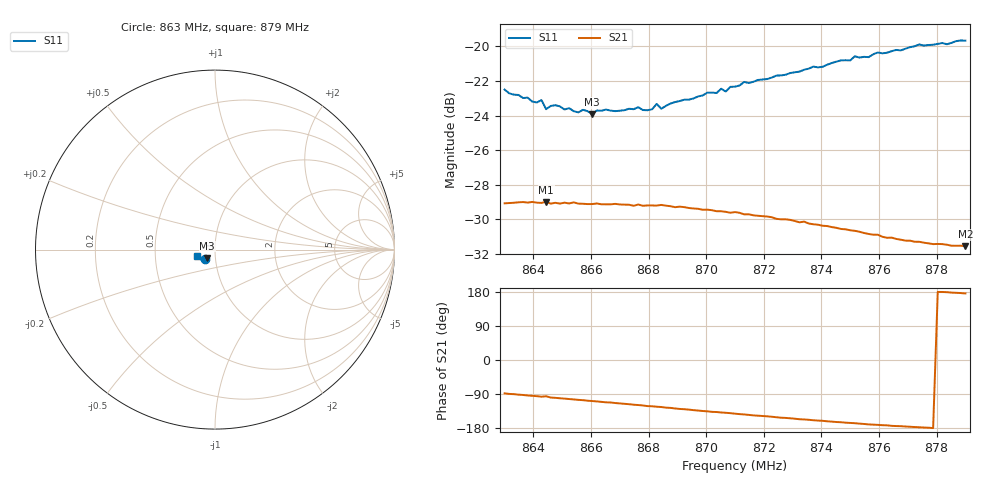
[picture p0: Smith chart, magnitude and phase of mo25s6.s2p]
# HZ S RI R 50
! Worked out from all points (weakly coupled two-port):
!   101 points, 863 MHz to 879 MHz, reference 50 ohm
!   highest |S21| = -29.00 dB at 864.44 MHz (marker M1); lowest = -31.6 dB at 879 MHz (marker M2)
!   lowest |S11| = -23.9 dB at 866.04 MHz (marker M3), VSWR 1.14, Z = 45.7 - j4.32 ohm
!   |S11| at or under -10 dB: start of sweep to end of sweep
!   S12 and S22 are empty: the file has one direction only
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8.63e8  -0.0561 -0.0497  0.00123 -0.0351  0 0  0 0
8.6396e8  -0.0504 -0.0475  -0.00282 -0.0354  0 0  0 0
8.6428e8  -0.0503 -0.0485  -0.00421 -0.035  0 0  0 0
8.6444e8  -0.0464 -0.0467  -0.00352 -0.0353  0 0  0 0
8.6476e8  -0.0485 -0.0471  -0.00605 -0.0348  0 0  0 0
8.6556e8  -0.0449 -0.0462  -0.0092 -0.0339  0 0  0 0
8.6572e8  -0.0474 -0.0453  -0.00966 -0.0337  0 0  0 0
8.6604e8  -0.0429 -0.0471  -0.011 -0.0332  0 0  0 0
8.662e8  -0.044 -0.0482  -0.0116 -0.0331  0 0  0 0
8.6764e8  -0.0422 -0.0517  -0.0168 -0.0306  0 0  0 0
8.6796e8  -0.041 -0.0509  -0.0182 -0.0295  0 0  0 0
8.6828e8  -0.0427 -0.0531  -0.019 -0.0289  0 0  0 0
8.6844e8  -0.0409 -0.0519  -0.0195 -0.0288  0 0  0 0
8.6892e8  -0.0422 -0.0546  -0.021 -0.027  0 0  0 0
8.7036e8  -0.0451 -0.0578  -0.0245 -0.0226  0 0  0 0
8.7052e8  -0.0474 -0.0587  -0.025 -0.0221  0 0  0 0
8.7068e8  -0.0466 -0.0575  -0.0252 -0.0217  0 0  0 0
8.71e8  -0.0487 -0.059  -0.026 -0.0206  0 0  0 0
8.7372e8  -0.0627 -0.0609  -0.0285 -0.011  0 0  0 0
8.7644e8  -0.0814 -0.0526  -0.0278 -0.00303  0 0  0 0
8.774e8  -0.0897 -0.0471  -0.0272 -0.00118  0 0  0 0
8.79e8  -0.0983 -0.0337  -0.0263 0.00204  0 0  0 0
